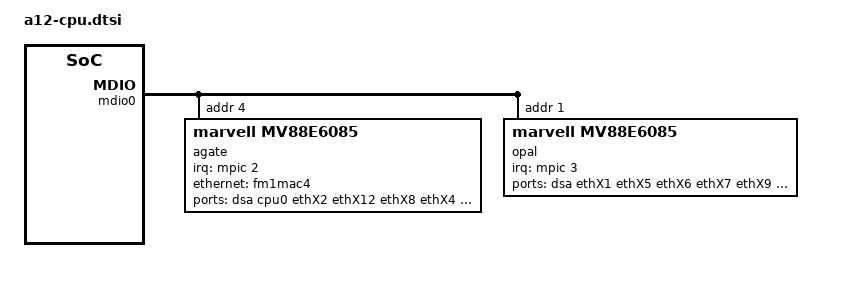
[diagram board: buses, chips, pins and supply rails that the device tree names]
#include <common/mv6.h>

#include "a-common.dtsi"

&mdio0 {
	agate: switch@4 {
		compatible = "marvell,mv88e6085";
		reg = <0x4>;

		dsa,member = <0 0>;
		dsa,num_tx_queues = <8>;

		interrupts = <2 1 0 0>;
		interrupt-parent = <&mpic>;
		interrupt-controller;
		#interrupt-cells = <2>;

		ports {
			#address-cells = <0x1>;
			#size-cells = <0x0>;

			dsa0d: port@5 {
				reg = <0x5>;
				label = "dsa";
				link = <&dsa1u>;
				phy-mode = "rgmii-id";

				fixed-link {
					speed = <1000>;
					full-duplex;
				};
			};

			port@6 {
				reg = <0x6>;
				label = "cpu0";
				ethernet = <&fm1mac4>;
				phy-mode = "rgmii-id";

				fixed-link {
					speed = <1000>;
					full-duplex;
				};
			};

			agate_port0: port@0 {
				phy-handle = <&aphy0>;
				reg = <0>;
				label = "ethX2";
				local-mac-address = [00 00 00 00 00 00];
				phy-mode = "gmii";
			};

			agate_port1: port@1 {
				phy-handle = <&aphy1>;
				reg = <1>;
				label = "ethX12";
				local-mac-address = [00 00 00 00 00 00];
				phy-mode = "gmii";
			};

			agate_port2: port@2 {
				phy-handle = <&aphy2>;
				reg = <2>;
				label = "ethX8";
				local-mac-address = [00 00 00 00 00 00];
				phy-mode = "gmii";
			};

			agate_port3: port@3 {
				phy-handle = <&aphy3>;
				reg = <3>;
				label = "ethX4";
				local-mac-address = [00 00 00 00 00 00];
				phy-mode = "gmii";
			};

			agate_port4: port@4 {
				phy-handle = <&aphy4>;
				reg = <4>;
				label = "ethX3";
				local-mac-address = [00 00 00 00 00 00];
				phy-mode = "gmii";
			};

			/* mv6_port(0, "ethX2" , &aphy0, "gmii");
			mv6_port(1, "ethX12", &aphy1, "gmii");
			mv6_port(2, "ethX8" , &aphy2, "gmii");
			mv6_port(3, "ethX4" , &aphy3, "gmii");
			mv6_port(4, "ethX3" , &aphy4, "gmii"); */
		};

		mdio {
			#address-cells = <0x1>;
			#size-cells = <0x0>;
			interrupt-parent = <&agate>;

			aphy0: mv6_phy(0);
			aphy1: mv6_phy(1);
			aphy2: mv6_phy(2);
			aphy3: mv6_phy(3);
			aphy4: mv6_phy(4);
		};
	};

	opal: switch@1 {
		compatible = "marvell,mv88e6085";
		reg = <0x1>;

		dsa,member = <0 1>;
		dsa,num_tx_queues = <4>;

		interrupts = <3 1 0 0>;
		interrupt-parent = <&mpic>;
		interrupt-controller;
		#interrupt-cells = <2>;

		ports {
			#address-cells = <1>;
			#size-cells = <0>;

			dsa1u: port@a {
				reg = <0xa>;
				label = "dsa";
				link = <&dsa0d>;
				phy-mode = "rgmii";

				fixed-link {
					speed = <1000>;
					full-duplex;
				};
			};

			opal_port0: port@0 {
				phy-handle = <&ophy0>;
				reg = <0>;
				label = "ethX1";
				local-mac-address = [00 00 00 00 00 00];
				phy-mode = "mii";
			};

			opal_port1: port@1 {
				phy-handle = <&ophy1>;
				reg = <1>;
				label = "ethX5";
				local-mac-address = [00 00 00 00 00 00];
				phy-mode = "mii";
			};

			opal_port2: port@2 {
				phy-handle = <&ophy2>;
				reg = <2>;
				label = "ethX6";
				local-mac-address = [00 00 00 00 00 00];
				phy-mode = "mii";
			};

			opal_port3: port@3 {
				phy-handle = <&ophy3>;
				reg = <3>;
				label = "ethX7";
				local-mac-address = [00 00 00 00 00 00];
				phy-mode = "mii";
			};

			opal_port4: port@4 {
				phy-handle = <&ophy4>;
				reg = <4>;
				label = "ethX9";
				local-mac-address = [00 00 00 00 00 00];
				phy-mode = "mii";
			};

			opal_port5: port@5 {
				phy-handle = <&ophy5>;
				reg = <5>;
				label = "ethX10";
				local-mac-address = [00 00 00 00 00 00];
				phy-mode = "mii";
			};

			opal_port6: port@6 {
				phy-handle = <&ophy6>;
				reg = <6>;
				label = "ethX11";
				local-mac-address = [00 00 00 00 00 00];
				phy-mode = "mii";
			};

			/*	mv6_port(0, "ethX1" , &ophy0, "mii");
			mv6_port(1, "ethX5" , &ophy1, "mii");
			mv6_port(2, "ethX6" , &ophy2, "mii");
			mv6_port(3, "ethX7" , &ophy3, "mii");
			mv6_port(4, "ethX9" , &ophy4, "mii");
			mv6_port(5, "ethX10", &ophy5, "mii");
			mv6_port(6, "ethX11", &ophy6, "mii"); */
		};

		mdio {
			#address-cells = <1>;
			#size-cells = <0>;
			interrupt-parent = <&opal>;

			ophy0: mv6_phy(0);
			ophy1: mv6_phy(1);
			ophy2: mv6_phy(2);
			ophy3: mv6_phy(3);
			ophy4: mv6_phy(4);
			ophy5: mv6_phy(5);
			ophy6: mv6_phy(6);
		};
	};
};
